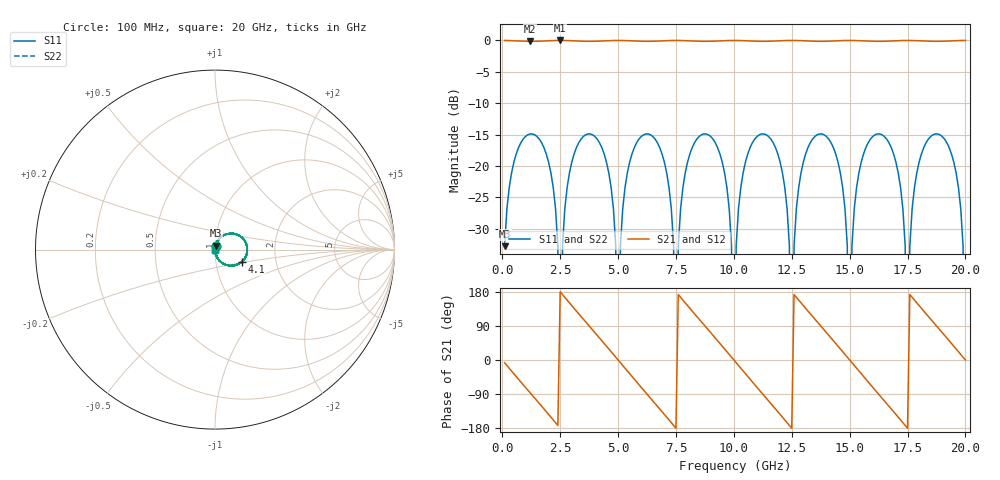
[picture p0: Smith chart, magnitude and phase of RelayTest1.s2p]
! File created by SignalIntegrity v1.2.1: Signal and Power Integrity Tools
! https://github.com/TeledyneLeCroy/SignalIntegrity
# MHz S MA R 50.0
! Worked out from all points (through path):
!   200 points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, 100 MHz to 20 GHz, reference 50 ohm
!   highest |S21| = 0.00 dB at 2.5 GHz (marker M1); lowest = -0.1 dB at 1.2 GHz (marker M2)
!   group delay of S21, straight-line fit = 200 ps
!   lowest |S11| = -32.8 dB at 100 MHz (marker M3), VSWR 1.05, Z = 50.2 + j2.29 ohm
!   |S11| at or under -10 dB: start of sweep to end of sweep
!   |S22| runs from - to -14.9 dB; largest |S21 - S12| = 0
!   S11 on the Smith chart (normalised r, x): 100 MHz: 1.00, +0.05; 4.1 GHz: 1.33, -0.19; 20 GHz: 1.00, +0.00
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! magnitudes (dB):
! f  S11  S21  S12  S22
! 100 MHz  -32.8  0.0  0.0  -32.8
! 1.2 GHz  -14.9  -0.1  -0.1  -14.9
! 2.5 GHz  -  0.0  0.0  -
! 3.5 GHz  -15.3  -0.1  -0.1  -15.3
! 4.1 GHz  -15.7  -0.1  -0.1  -15.7
! 5 GHz  -  0.0  0.0  -
! 5.2 GHz  -26.8  0.0  0.0  -26.8
! 6.8 GHz  -17.1  -0.1  -0.1  -17.1
! 7.5 GHz  -  0.0  0.0  -
! 7.9 GHz  -21.1  0.0  0.0  -21.1
! 9.7 GHz  -23.4  0.0  0.0  -23.4
! 10 GHz  -  0.0  0.0  -
! 10.1 GHz  -32.8  0.0  0.0  -32.8
! 12.1 GHz  -21.1  0.0  0.0  -21.1
! 12.5 GHz  -  0.0  0.0  -
! 13.4 GHz  -15.7  -0.1  -0.1  -15.7
! 15 GHz  -  0.0  0.0  -
! 16.7 GHz  -16.3  -0.1  -0.1  -16.3
! 17.5 GHz  -  0.0  0.0  -
! 17.8 GHz  -23.4  0.0  0.0  -23.4
! 19.6 GHz  -21.1  0.0  0.0  -21.1
! 20 GHz  -  0.0  0.0  -
